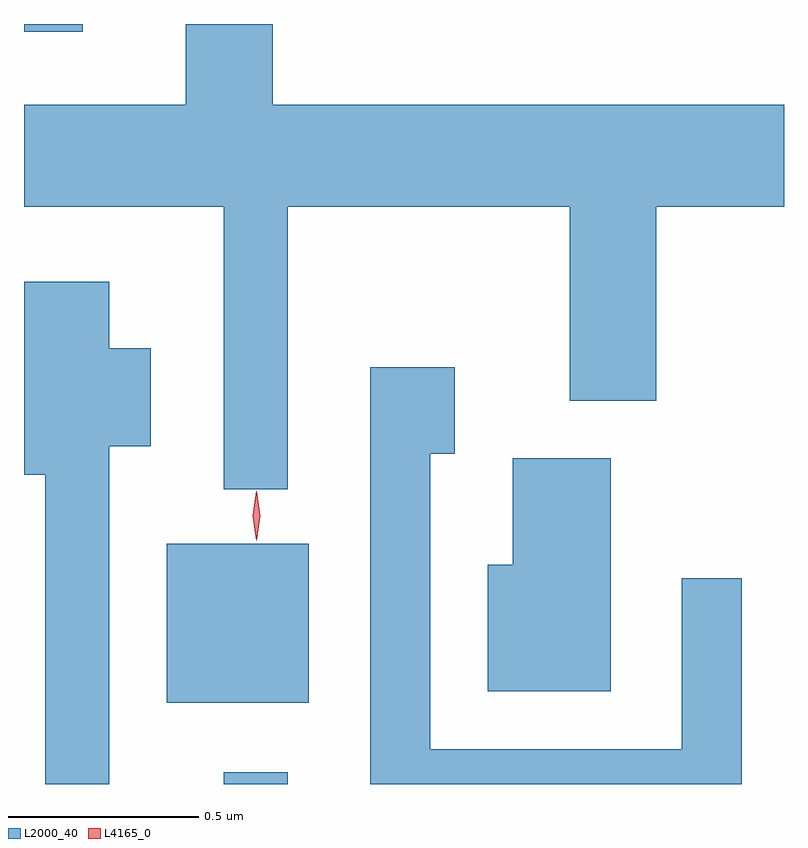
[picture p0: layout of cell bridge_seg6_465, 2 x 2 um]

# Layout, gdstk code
import gdstk
lib = gdstk.Library(unit=1e-6, precision=1e-09)
def R(c, l, rs):  # rectangles x0, y0, x1, y1
    for r in rs: c.add(gdstk.rectangle(r[:2], r[2:], *l))
def P(c, l, *ps):  # polygons
    for p in ps: c.add(gdstk.Polygon(p, *l))
L2000_40 = (2000, 40)
L4165_0 = (4165, 0)

bridge_seg6_465 = lib.new_cell('bridge_seg6_465')
R(bridge_seg6_465, L2000_40, [(829.471,1606.237,829.639,1606.268), (829.321,1606.451,829.694,1606.869), (828.945,1608.216,829.099,1608.237)])
P(bridge_seg6_465, L2000_40, [(829.639,1607.756),(830.381,1607.756),(830.381,1607.246),(830.609,1607.246),(830.609,1607.756),(830.945,1607.756),(830.945,1608.024),(829.599,1608.024),(829.599,1608.237),(829.371,1608.237),(829.371,1608.024),(828.945,1608.024),(828.945,1607.756),(829.471,1607.756),(829.471,1607.013),(829.639,1607.013)],
  [(829.169,1607.126),(829.279,1607.126),(829.279,1607.384),(829.169,1607.384),(829.169,1607.559),(828.945,1607.559),(828.945,1607.051),(829.001,1607.051),(829.001,1606.237),(829.169,1606.237)],
  [(830.834,1606.778),(830.676,1606.778),(830.676,1606.329),(830.014,1606.329),(830.014,1607.106),(830.079,1607.106),(830.079,1607.334),(829.856,1607.334),(829.856,1606.237),(830.834,1606.237)],
  [(830.489,1607.094),(830.231,1607.094),(830.231,1606.814),(830.166,1606.814),(830.166,1606.481),(830.489,1606.481)])
P(bridge_seg6_465, L4165_0, [(829.557,1606.878),(829.556,1606.879),(829.547,1606.943),(829.556,1607.007),(829.557,1607.007),(829.557,1607.007),(829.567,1606.943),(829.557,1606.879)])

lib.write_gds('bridge_seg6_465.gds')
